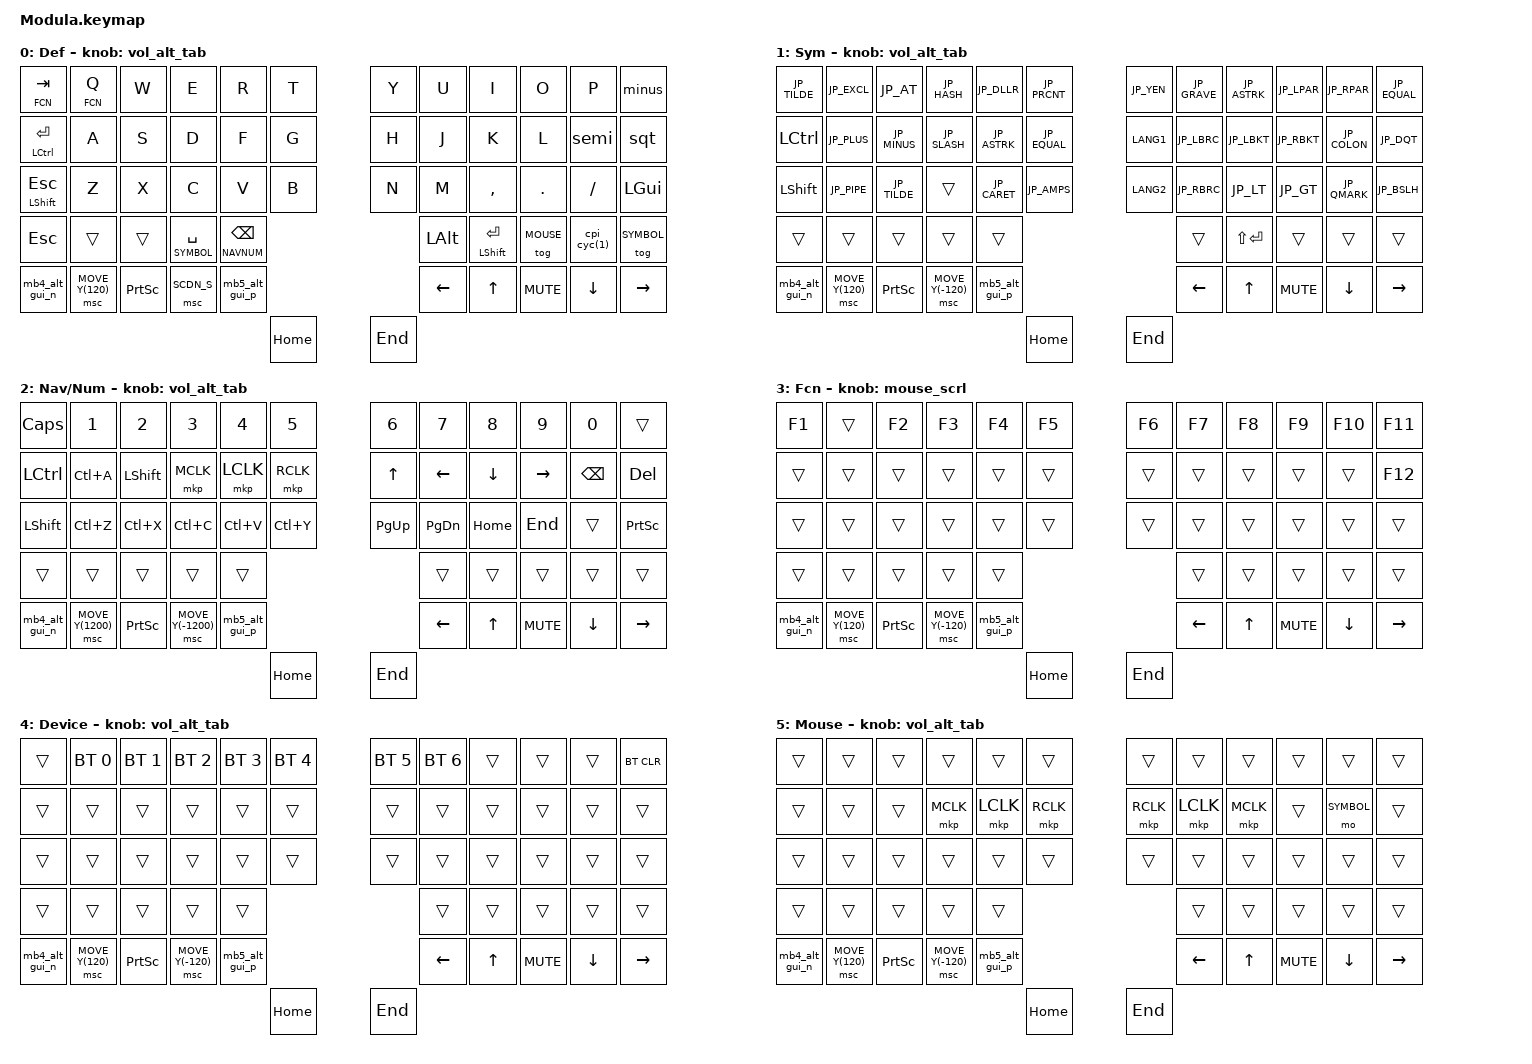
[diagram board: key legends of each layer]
#include <behaviors.dtsi>
#include <dt-bindings/zmk/bt.h>
#include <dt-bindings/zmk/keys.h>
#include <dt-bindings/zmk/pointing.h>
#include <dt-bindings/zmk/outputs.h>

#include "keycode_japanese.h"

#define DEFAULT 0
#define SYMBOL 1
#define NAVNUM 2
#define FCN 3
#define DEVICE 4
#define MOUSE 5
#define SCUP_S MOVE_Y(120)
#define SCUP_F MOVE_Y(1200)
#define SCDN_S MOVE_Y(-120)
#define SCDN_F MOVE_Y(-1200)

&mt {
    flavor = "hold-preferred";
};

&lt {
    flavor = "hold-preferred";
};

// &msc { 
//     delay-ms = <0>;
//     trigger-period-ms = <100>; // default:16
//     x-input-code = <INPUT_REL_HWHEEL>;
//     y-input-code = <INPUT_REL_WHEEL>;
//     time-to-max-speed-ms = <300>;
//     acceleration-exponent = <0>;
// };

/ {

    // msc_input_listener: msch_input_listener {
    //     compatible = "zmk,input-listener";
    //     device = <&msch>;
    //     // input-processors = 
    // };

    conditional_layers {
        compatible = "zmk,conditional-layers";
        device_layer {
            if-layers = <SYMBOL NAVNUM>;
            then-layer = <DEVICE>;
        };
    };

    combos{
    };

    behaviors {
        msch: msc-hold {
            compatible = "zmk,behavior-input-two-axis";
            #binding-cells = <1>;
            x-input-code = <INPUT_REL_HWHEEL>;
            y-input-code = <INPUT_REL_WHEEL>;
            time-to-max-speed-ms = <300>;
            acceleration-exponent = <0>;
        };
        msc_dt: msc-double-tap {
            compatible = "zmk,behavior-hold-tap";
            #binding-cells = <2>;
            flavor = "hold-preferred";
            tapping-term-ms = <100>;
            quick-tap-ms = <300>;
            bindings = <&msc>, <&msc>;
        };
        // Japanese settings
        minus: jp-minus {
            compatible = "zmk,behavior-mod-morph";
            #binding-cells = <0>;
            bindings = <&kp JP_MINUS>, <&kp JP_UNDER>;
            mods = <(MOD_LSFT|MOD_RSFT)>;
        };
        semi: jp-semi {
            compatible = "zmk,behavior-mod-morph";
            #binding-cells = <0>;
            bindings = <&kp JP_SEMI>, <&kp JP_COLON>;
            mods = <(MOD_LSFT|MOD_RSFT)>;
        };
        sqt: jp-sqt {
            compatible = "zmk,behavior-mod-morph";
            #binding-cells = <0>;
            bindings = <&kp JP_SQT>, <&kp JP_DQT>;
            mods = <(MOD_LSFT|MOD_RSFT)>;
        };

        // Hold-Tap
        plt: positional_layer_tap {
            compatible = "zmk,behavior-hold-tap";
            #binding-cells = <2>;
            flavor = "hold-preferred";
            tapping-term-ms = <1000>;
            quick-tap-ms = <200>;
            bindings = <&mo>, <&kp>;
            hold-trigger-key-positions = <0>;
        };
        mth: mt-hold-while-undecided {
            compatible = "zmk,behavior-hold-tap";
            #binding-cells = <2>;
            flavor = "hold-preferred";
            hold-while-undecided;
            tapping-term-ms = <200>;
            bindings = <&kp>, <&kp>;
        };
        lth: lt-hold-while-undecided {
            compatible = "zmk,behavior-hold-tap";
            #binding-cells = <2>;
            flavor = "hold-preferred";
            hold-while-undecided;
            tapping-term-ms = <200>;
            bindings = <&mo>, <&kp>;
        };
        mtt: mt-tap-preferred {
            compatible = "zmk,behavior-hold-tap";
            #binding-cells = <2>;
            tapping-term-ms = <150>;
            quick-tap-ms = <0>;
            flavor = "tap-preferred";
            bindings = <&kp>, <&kp>;
        };
        ltt: lt-tap-preferred {
            compatible = "zmk,behavior-hold-tap";
            #binding-cells = <2>;
            flavor = "tap-preferred";
            tapping-term-ms = <200>;
            bindings = <&mo>, <&kp>;
        };

        // Encoders
        // rot_kp: sensor_rotate_kp {
        //     compatible = "zmk,behavior-sensor-rotate";
        //     #sensor-binding-cells = <0>;
        //     bindings = <&kp LEFT>, <&kp RIGHT>;
        // };
        // msc_rot: mouse_scroll_rotate {
        //     compatible = "zmk,behavior-input-two-axis";
        //     #binding-cells = <1>;
        //     x-input-code = <INPUT_REL_HWHEEL>;
        //     y-input-code = <INPUT_REL_WHEEL>;
        //     trigger-period-ms = <16>; // default:16
        //     delay-ms = <0>;
        //     time-to-max-speed-ms = <0>;
        //     acceleration-exponent = <1>;
        // };
        mouse_scrl: mouse_wheel_scrl {
            compatible = "zmk,behavior-sensor-rotate";
            #sensor-binding-cells = <0>;
            bindings = <&msc MOVE_UP>, <&msc MOVE_DOWN>;
            tap-ms = <20>;
        };
        alt_p: alt-positive {
            compatible = "zmk,behavior-mod-morph";
            #binding-cells = <0>;
            bindings = <&kp 0>, <&kp TAB>;
            mods = <(MOD_LALT|MOD_RALT)>;
            keep-mods = <(MOD_LALT)>;
        };
        gui_p: gui-positive {
            compatible = "zmk,behavior-mod-morph";
            #binding-cells = <0>;
            bindings = <&kp 0>, <&kp RIGHT>;
            mods = <(MOD_LGUI|MOD_RGUI)>;
            keep-mods = <(MOD_LGUI)>;
        };
        ag_p: alt-gui-positive {
            compatible = "zmk,behavior-mod-morph";
            #binding-cells = <0>;
            bindings = <&gui_p>, <&alt_p>;
            mods = <(MOD_LALT|MOD_RALT)>;
        };
        vol_alt_gui_p: volume-alt-gui-positive {
            compatible = "zmk,behavior-mod-morph";
            #binding-cells = <0>;
            bindings = <&kp C_VOL_UP>, <&ag_p>;
            mods = <(MOD_LALT|MOD_RALT|MOD_LGUI|MOD_RGUI)>;
        };
        mb5_alt_gui_p: mb5-alt-gui-positive {
            compatible = "zmk,behavior-mod-morph";
            #binding-cells = <0>;
            bindings = <&mkp MB5>, <&ag_p>;
            mods = <(MOD_LALT|MOD_RALT|MOD_LGUI|MOD_RGUI)>;
        };
        alt_n: alt-negative {
            compatible = "zmk,behavior-mod-morph";
            #binding-cells = <0>;
            bindings = <&kp 0>, <&kp LS(TAB)>;
            mods = <(MOD_LALT|MOD_RALT)>;
            keep-mods = <(MOD_LALT)>;
        };
        gui_n: gui-negative {
            compatible = "zmk,behavior-mod-morph";
            #binding-cells = <0>;
            bindings = <&kp 0>, <&kp LEFT>;
            mods = <(MOD_LGUI|MOD_RGUI)>;
            keep-mods = <(MOD_LGUI)>;
        };
        ag_n: alt-gui-negative {
            compatible = "zmk,behavior-mod-morph";
            #binding-cells = <0>;
            bindings = <&gui_n>, <&alt_n>;
            mods = <(MOD_LALT|MOD_RALT)>;
        };
        vol_alt_gui_n: volume-alt-gui-negative {
            compatible = "zmk,behavior-mod-morph";
            #binding-cells = <0>;
            bindings = <&kp C_VOL_DN>, <&ag_n>;
            mods = <(MOD_LALT|MOD_RALT|MOD_LGUI|MOD_RGUI)>;
        };
        mb4_alt_gui_n: mb4-alt-gui-negative {
            compatible = "zmk,behavior-mod-morph";
            #binding-cells = <0>;
            bindings = <&mkp MB4>, <&ag_n>;
            mods = <(MOD_LALT|MOD_RALT|MOD_LGUI|MOD_RGUI)>;
        };
        vol_alt_tab: volume-alt-tab {
            compatible = "zmk,behavior-sensor-rotate";
            #sensor-binding-cells = <0>;
            bindings = <&vol_alt_gui_n>, <&vol_alt_gui_p>;
            tap-ms = <10>;
        };

    };

// arrow direction < ^ _ v >
	keymap {
		compatible = "zmk,keymap";
		default_layer {
			label="Def";
			bindings = <
&lth FCN TAB    &plt FCN Q    &kp W         &kp E     &kp R             &kp T                   &kp Y       &kp U           &kp I       &kp O       &kp P       &minus
&mth LCTRL RET  &kp A         &kp S         &kp D     &kp F             &kp G                   &kp H       &kp J           &kp K       &kp L       &semi       &sqt
&mth LSHIFT ESC &kp Z         &kp X         &kp C     &kp V             &kp B                   &kp N       &kp M           &kp COMMA   &kp DOT     &kp SLASH   &kp LGUI
&kp  ESC        &trans        &trans        &lth SYMBOL SPACE &lth NAVNUM BSPC                  &kp LALT    &mt LSHFT RET               &tog MOUSE  &cpi_cyc(1) &tog SYMBOL
&mb4_alt_gui_n  &msc SCUP_S &kp PSCRN  &msc SCDN_S   &mb5_alt_gui_p            &kp LEFT    &kp UP          &kp C_MUTE  &kp DOWN   &kp RIGHT
&kp HOME &kp END
			>;
            sensor-bindings = <&vol_alt_tab>;
		};
		
		symbol_layer {
			label="Sym";
			bindings = <
&kp JP_TILDE &kp JP_EXCL  &kp JP_AT     &kp JP_HASH     &kp JP_DLLR         &kp JP_PRCNT        &kp JP_YEN   &kp JP_GRAVE  &kp JP_ASTRK  &kp JP_LPAR  &kp JP_RPAR  &kp JP_EQUAL
&kp LCTRL    &kp JP_PLUS  &kp JP_MINUS  &kp JP_SLASH    &kp JP_ASTRK        &kp JP_EQUAL        &kp LANG1    &kp JP_LBRC   &kp JP_LBKT   &kp JP_RBKT  &kp JP_COLON &kp JP_DQT
&kp LSHIFT   &kp JP_PIPE  &kp JP_TILDE  &trans          &kp JP_CARET        &kp JP_AMPS         &kp LANG2    &kp JP_RBRC   &kp JP_LT     &kp JP_GT    &kp JP_QMARK &kp JP_BSLH
&trans       &trans       &trans                        &trans              &trans              &trans       &kp LS(RET)                 &trans       &trans       &trans 
&mb4_alt_gui_n  &msc MOVE_Y(120)   &kp PSCRN  &msc MOVE_Y(-120)   &mb5_alt_gui_p            &kp LEFT    &kp UP          &kp C_MUTE  &kp DOWN   &kp RIGHT
&kp HOME &kp END
			>;
            sensor-bindings = <&vol_alt_tab>;
		};
		
		navnum_layer {
			label="Nav/Num";
			bindings = <
&kp CAPSLOCK &kp N1    &kp N2     &kp N3    &kp N4    &kp N5    &kp N6    &kp N7    &kp N8   &kp N9    &kp N0   &trans
&kp LCTRL    &kp LC(A) &kp LSHIFT &mkp MCLK &mkp LCLK &mkp RCLK &kp UP    &kp LEFT  &kp DOWN &kp RIGHT &kp BSPC &kp DEL
&kp LSHIFT   &kp LC(Z) &kp LC(X)  &kp LC(C) &kp LC(V) &kp LC(Y) &kp PG_UP &kp PG_DN &kp HOME &kp END   &trans   &kp PSCRN
&trans       &trans    &trans               &trans    &trans    &trans    &trans             &trans    &trans   &trans
&mb4_alt_gui_n  &msc MOVE_Y(1200)   &kp PSCRN  &msc MOVE_Y(-1200)   &mb5_alt_gui_p            &kp LEFT    &kp UP          &kp C_MUTE  &kp DOWN   &kp RIGHT
&kp HOME &kp END
			>;
            sensor-bindings = <&vol_alt_tab>;
		};
		
		function_layer {
			label="Fcn";
			bindings = <
&kp F1 &trans &kp F2 &kp F3 &kp F4 &kp F5 &kp F6 &kp F7 &kp F8 &kp F9 &kp F10 &kp F11
&trans &trans &trans &trans &trans &trans &trans &trans &trans &trans &trans  &kp F12
&trans &trans &trans &trans &trans &trans &trans &trans &trans &trans &trans  &trans
&trans &trans &trans        &trans &trans &trans &trans        &trans &trans  &trans
&mb4_alt_gui_n  &msc MOVE_Y(120)   &kp PSCRN  &msc MOVE_Y(-120)   &mb5_alt_gui_p            &kp LEFT    &kp UP          &kp C_MUTE  &kp DOWN   &kp RIGHT
&kp HOME &kp END
			>;
            sensor-bindings = <&mouse_scrl>;
		};
		
		device_layer {
			label="Device";
			bindings = <
&trans            &bt BT_SEL 0     &bt BT_SEL 1     &bt BT_SEL 2     &bt BT_SEL 3     &bt BT_SEL 4         &bt BT_SEL 5      &bt BT_SEL 6     &trans           &trans           &trans           &bt BT_CLR
&trans            &trans           &trans           &trans           &trans           &trans               &trans            &trans           &trans           &trans           &trans           &trans
&trans            &trans           &trans           &trans           &trans           &trans               &trans            &trans           &trans           &trans           &trans           &trans
&trans            &trans           &trans                            &trans           &trans               &trans            &trans                            &trans           &trans           &trans
&mb4_alt_gui_n  &msc MOVE_Y(120)   &kp PSCRN  &msc MOVE_Y(-120)   &mb5_alt_gui_p            &kp LEFT    &kp UP          &kp C_MUTE  &kp DOWN   &kp RIGHT
&kp HOME &kp END
			>;
            sensor-bindings = <&vol_alt_tab>;
		};

        mouse_layer {
			label="Mouse";
			bindings = <
&trans  &trans  &trans  &trans  &trans  &trans                              &trans  &trans  &trans  &trans  &trans  &trans
&trans  &trans  &trans  &mkp MCLK  &mkp LCLK  &mkp RCLK                     &mkp RCLK  &mkp LCLK  &mkp MCLK &trans  &mo SYMBOL &trans
&trans  &trans  &trans  &trans  &trans  &trans                              &trans  &trans  &trans  &trans  &trans  &trans
&trans  &trans  &trans          &trans  &trans                              &trans  &trans          &trans  &trans  &trans
&mb4_alt_gui_n  &msc MOVE_Y(120)   &kp PSCRN  &msc MOVE_Y(-120)   &mb5_alt_gui_p            &kp LEFT    &kp UP          &kp C_MUTE  &kp DOWN   &kp RIGHT
&kp HOME &kp END
			>;
            sensor-bindings = <&vol_alt_tab>;
		};
	};
};
